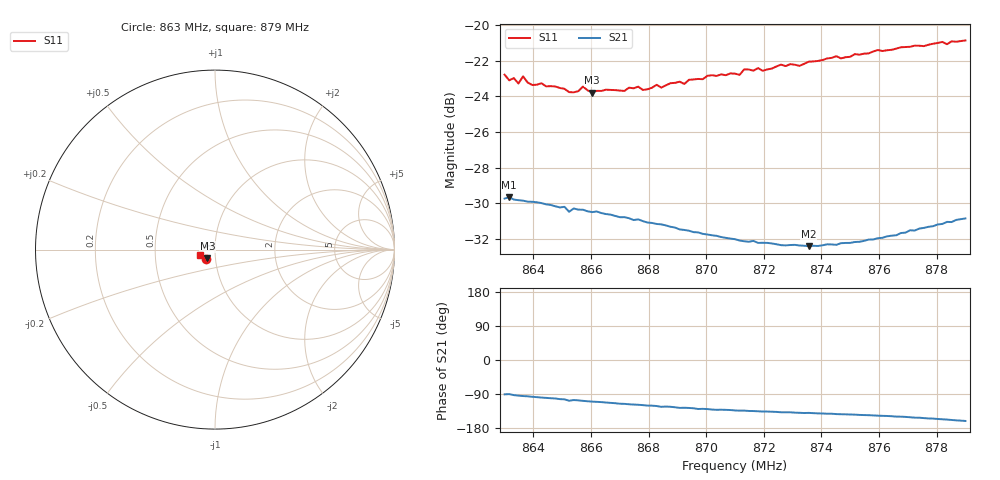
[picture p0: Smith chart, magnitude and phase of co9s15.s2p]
# HZ S RI R 50
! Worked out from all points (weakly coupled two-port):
!   101 points, 863 MHz to 879 MHz, reference 50 ohm
!   highest |S21| = -29.66 dB at 863.16 MHz (marker M1); lowest = -32.4 dB at 873.56 MHz (marker M2)
!   lowest |S11| = -23.8 dB at 866.04 MHz (marker M3), VSWR 1.14, Z = 45.7 - j4.5 ohm
!   |S11| at or under -10 dB: start of sweep to end of sweep
!   S12 and S22 are empty: the file has one direction only
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8.63e8  -0.0519 -0.0508  -0.000334 -0.0326  0 0  0 0
8.6316e8  -0.0482 -0.0508  1.5e-05 -0.0329  0 0  0 0
8.6332e8  -0.0494 -0.051  -0.00153 -0.0324  0 0  0 0
8.6348e8  -0.0486 -0.0484  -0.00231 -0.0322  0 0  0 0
8.6364e8  -0.051 -0.0507  -0.00284 -0.032  0 0  0 0
8.6396e8  -0.0474 -0.0487  -0.00388 -0.0317  0 0  0 0
8.6428e8  -0.0462 -0.0509  -0.00502 -0.0313  0 0  0 0
8.6508e8  -0.0442 -0.0494  -0.00739 -0.03  0 0  0 0
8.6524e8  -0.0443 -0.0474  -0.00901 -0.0285  0 0  0 0
8.6572e8  -0.0442 -0.0506  -0.00926 -0.0289  0 0  0 0
8.6604e8  -0.0423 -0.049  -0.0101 -0.0281  0 0  0 0
8.6764e8  -0.0438 -0.051  -0.0134 -0.0251  0 0  0 0
8.678e8  -0.0427 -0.05  -0.0137 -0.0246  0 0  0 0
8.6828e8  -0.0431 -0.0526  -0.0144 -0.0236  0 0  0 0
8.6844e8  -0.0427 -0.0514  -0.0152 -0.023  0 0  0 0
8.7004e8  -0.0474 -0.0543  -0.0164 -0.0199  0 0  0 0
8.71e8  -0.0494 -0.0539  -0.0172 -0.0183  0 0  0 0
8.7132e8  -0.0515 -0.0548  -0.017 -0.018  0 0  0 0
8.7356e8  -0.0596 -0.0519  -0.0182 -0.0155  0 0  0 0
8.7372e8  -0.0593 -0.0525  -0.0185 -0.0154  0 0  0 0
8.7644e8  -0.0732 -0.0438  -0.0218 -0.0134  0 0  0 0
8.79e8  -0.0851 -0.0311  -0.0271 -0.0094  0 0  0 0
